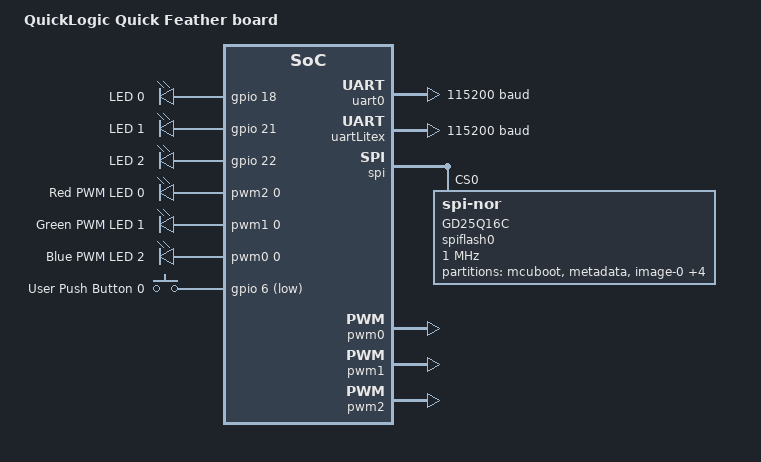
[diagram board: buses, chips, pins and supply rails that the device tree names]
/*
 * Copyright (c) 2020 Antmicro <www.antmicro.com>
 *
 * SPDX-License-Identifier: Apache-2.0
 */

/dts-v1/;
#include <quicklogic/quicklogic_eos_s3.dtsi>
#include "quick_feather.dtsi"

/ {
	model = "QuickLogic Quick Feather board";
	compatible = "quicklogic,eos_s3", "quicklogic,eos_s3x";

	chosen {
		zephyr,sram = &sram0;
		zephyr,console = &uart0;
		zephyr,shell-uart = &uart0;
		zephyr,uart-pipe = &uart0;
	};

	aliases {
		led0 = &led0;
		led1 = &led1;
		led2 = &led2;
		pwm-led0 = &pwm_led0;
		pwm-led1 = &pwm_led1;
		pwm-led2 = &pwm_led2;
		red-pwm-led = &pwm_led0;
		green-pwm-led = &pwm_led1;
		blue-pwm-led = &pwm_led2;
		sw0 = &button0;
	};

	leds {
		compatible = "gpio-leds";
		led0: led_0 {
			gpios = <&gpio 18 0>;
			label = "LED 0";
		};

		led1: led_1 {
			gpios = <&gpio 21 0>;
			label = "LED 1";
		};

		led2: led_2 {
			gpios = <&gpio 22 0>;
			label = "LED 2";
		};
	};

	pwmleds {
		compatible = "pwm-leds";
		pwm_led0: pwm_led_0 {
			pwms = <&pwm2 0>;
			label = "Red PWM LED 0";
		};
		pwm_led1: pwm_led_1 {
			pwms = <&pwm1 0>;
			label = "Green PWM LED 1";
		};
		pwm_led2: pwm_led_2 {
			pwms = <&pwm0 0>;
			label = "Blue PWM LED 2";
		};
	};

	buttons {
		compatible = "gpio-keys";
		button0: button_0 {
			gpios = <&gpio 6 (GPIO_INT_ACTIVE_LOW | GPIO_PUD_PULL_UP) >;
			label = "User Push Button 0";
		};
	};
};

&cpu0 {
	clock-frequency = <61440000>;
};

&uart0 {
	status = "okay";
	current-speed = <115200>;
};

&uartLitex {
	status = "okay";
	current-speed = <115200>;
};

&spi {
	status = "okay";

	spiflash: spiflash0@0 {
		compatible = "jedec,spi-nor";
		label = "GD25Q16C";
		reg = <0>;
		size = <16777216>;
		spi-max-frequency = <1000000>;
		has-be32k;
		jedec-id = [c8 40 15];
	};
};

&pwm0 {
	status = "okay";
};

&pwm1 {
	status = "okay";
};

&pwm2 {
	status = "okay";
};

&spiflash {
	partitions {
		compatible = "fixed-partitions";
		#address-cells = <1>;
		#size-cells = <1>;

		boot_partition: partition@0 {
			label = "mcuboot";
			reg = <0x00000000 0x00010000>;
			read-only;
		};

		/*
		 * The flash starting at 0x00010000 and ending at
		 * 0x0001ffff (sectors 16-31) is reserved for use
		 * by the application.
		 */
		metadata_partition: partition@10000 {
			label = "metadata";
			reg = <0x00010000 0x00010000>;
		};

		slot0_partition: partition@20000 {
			label = "image-0";
			reg = <0x00020000 0x00020000>;
		};
		slot1_partition: partition@40000 {
			label = "image-1";
			reg = <0x00040000 0x00020000>;
		};
		slot2_partition: partition@60000 {
			label = "image-2";
			reg = <0x00060000 0x00020000>;
		};
		slot3_partition: partition@80000 {
			label = "image-3";
			reg = <0x00080000 0x00020000>;
		};
		storage_partition: partition@100000 {
			label = "storage";
			reg = <0x00100000 0x00010000>;
		};

	};
};
